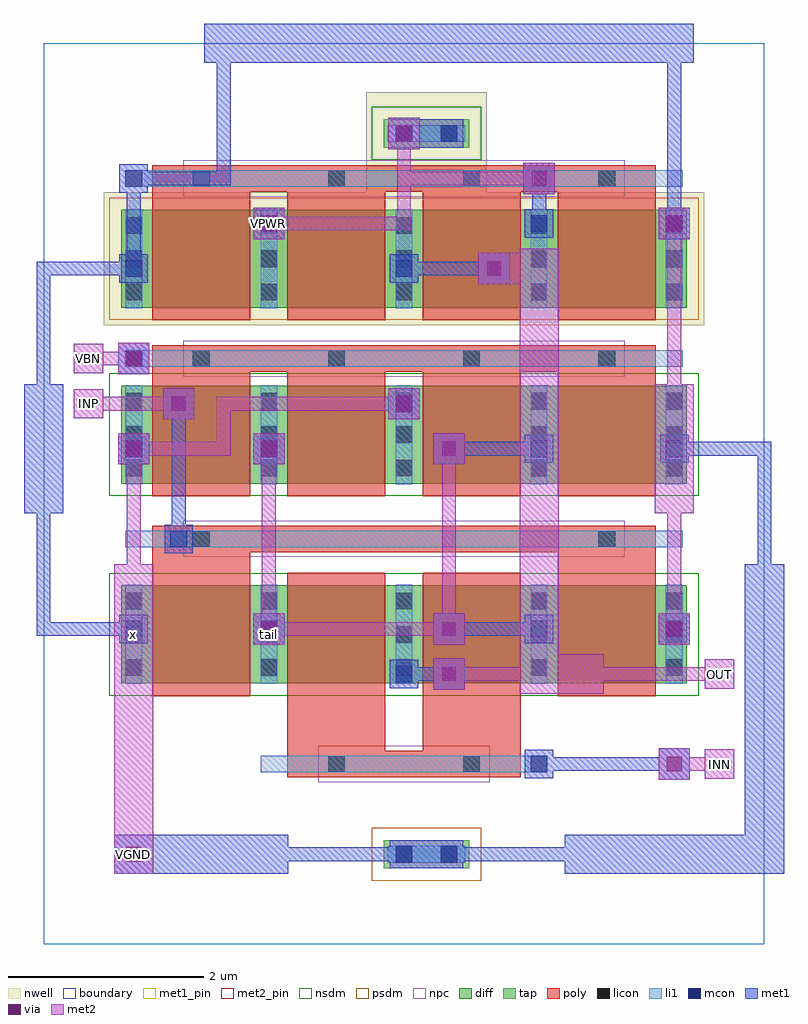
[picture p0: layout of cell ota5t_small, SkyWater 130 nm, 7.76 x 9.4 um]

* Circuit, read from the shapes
.subckt ota5t_small INN INP OUT VBN VGND VPWR tail x
XM1 tail INP x VGND sky130_fd_pr__nfet_01v8 w=1 l=1 m=2
XM2 tail VBN VGND VGND sky130_fd_pr__nfet_01v8 w=1 l=1 m=4
XM3 OUT INN tail VGND sky130_fd_pr__nfet_01v8 w=1 l=1 m=2
XM4 VPWR x x VPWR sky130_fd_pr__pfet_01v8 w=1 l=1 m=2
XM5 OUT x VPWR VPWR sky130_fd_pr__pfet_01v8 w=1 l=1 m=2
.ends

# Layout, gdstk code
import gdstk
lib = gdstk.Library(unit=1e-6, precision=1e-09)
def R(c, l, rs):  # rectangles x0, y0, x1, y1
    for r in rs: c.add(gdstk.rectangle(r[:2], r[2:], *l))
def A(c, l, x, y, w, h, nx, ny, dx, dy):  # array of equal rectangles
    R(c, l, [(x+i*dx, y+j*dy, x+i*dx+w, y+j*dy+h) for i in range(nx) for j in range(ny)])
nwell = (64, 20)
diff = (65, 20)
tap = (65, 44)
poly = (66, 20)
licon = (66, 44)
li1 = (67, 20)
mcon = (67, 44)
met1_pin = (68, 16)
met1 = (68, 20)
via = (68, 44)
met2_pin = (69, 16)
met2 = (69, 20)
nsdm = (93, 44)
psdm = (94, 20)
npc = (95, 20)
boundary = (235, 4)

ota5t_small = lib.new_cell('ota5t_small')
R(ota5t_small, nwell, [(0.615,6.32,6.745,7.68), (3.295,7.68,4.525,8.7)])
R(ota5t_small, diff, [(0.795,2.665,6.565,3.665), (0.795,4.705,6.565,5.705), (0.795,6.5,6.565,7.5)])
R(ota5t_small, tap, [(3.475,0.775,4.345,1.065), (3.475,8.135,4.345,8.425)])
A(ota5t_small, poly, 1.11, 4.005, 5.14, 0.27, 1, 3, 0, 1.84)
A(ota5t_small, poly, 1.11, 4.575, 1, 1.405, 4, 1, 1.38, 0)
A(ota5t_small, poly, 1.11, 6.37, 1, 1.45, 4, 1, 1.38, 0)
R(ota5t_small, poly, [(2.49,1.705,4.87,1.975), (2.49,1.84,3.49,3.795), (3.87,1.84,4.87,3.795), (1.11,2.535,2.11,4.14), (5.25,2.535,6.25,4.14)])
A(ota5t_small, licon, 0.835, 2.74, 0.17, 0.17, 5, 3, 1.38, 0.34)
A(ota5t_small, licon, 0.835, 4.78, 0.17, 0.17, 5, 3, 1.38, 0.34)
A(ota5t_small, licon, 1.525, 5.895, 0.17, 0.17, 4, 2, 1.38, 1.84)
A(ota5t_small, licon, 0.835, 6.575, 0.17, 0.17, 5, 3, 1.38, 0.34)
R(ota5t_small, licon, [(3.595,0.835,3.765,1.005), (4.055,0.835,4.225,1.005), (2.905,1.755,3.075,1.925), (4.285,1.755,4.455,1.925), (1.525,4.055,1.695,4.225), (5.665,4.055,5.835,4.225), (3.595,8.195,3.765,8.365), (4.055,8.195,4.225,8.365)])
A(ota5t_small, li1, 0.835, 2.66, 0.17, 1.01, 5, 2, 1.38, 2.04)
A(ota5t_small, li1, 0.835, 4.055, 5.69, 0.17, 1, 3, 0, 1.84)
A(ota5t_small, li1, 0.835, 6.495, 0.17, 1.01, 5, 1, 1.38, 0)
R(ota5t_small, li1, [(3.515,0.835,4.305,1.005), (2.215,1.755,5.145,1.925), (3.515,8.195,4.305,8.365)])
A(ota5t_small, mcon, 0.835, 4.975, 0.17, 0.17, 1, 4, 0, 0.92)
A(ota5t_small, mcon, 3.595, 5.435, 0.17, 0.17, 1, 3, 0, 1.38)
R(ota5t_small, mcon, [(3.595,0.835,3.765,1.005), (4.055,0.835,4.225,1.005), (4.975,1.755,5.145,1.925), (3.595,2.675,3.765,2.845), (0.835,3.135,1.005,3.305), (2.215,3.135,2.385,3.305), (4.975,3.135,5.145,3.305), (6.355,3.135,6.525,3.305), (1.295,4.055,1.465,4.225), (2.215,4.975,2.385,5.145), (4.975,4.975,5.145,5.145), (6.355,4.975,6.525,5.145), (2.215,7.275,2.385,7.445), (4.975,7.275,5.145,7.445), (6.355,7.275,6.525,7.445), (4.055,8.195,4.225,8.365)])
R(ota5t_small, met1_pin, [(0.72,0.72,1.12,1.12), (2.155,7.215,2.445,7.505)])
A(ota5t_small, met1, 0.775, 4.915, 0.29, 0.29, 1, 4, 0, 0.92)
R(ota5t_small, met1, [(0.72,0.72,2.5,1.12), (0.72,0.72,1.12,1.12), (5.32,0.72,7.56,1.12), (7.16,0.72,7.56,3.88), (3.535,0.775,4.285,1.065), (2.23,0.85,4.21,0.99), (4.07,0.85,4.21,0.99), (4.07,0.85,5.59,0.99), (6.28,1.68,6.6,2), (4.915,1.695,5.205,1.985), (4.99,1.77,6.51,1.91), (3.98,2.6,4.3,2.92), (3.535,2.615,3.825,2.905), (3.61,2.69,4.21,2.83), (2.14,3.06,2.46,3.38), (3.98,3.06,4.3,3.38), (6.28,3.06,6.6,3.38), (0.775,3.075,1.065,3.365), (2.155,3.075,2.445,3.365), (4.915,3.075,5.205,3.365), (6.295,3.075,6.585,3.365), (-0.07,3.15,0.99,3.29), (-0.07,3.15,0.07,4.67), (4.07,3.15,5.13,3.29), (7.29,3.61,7.43,5.13), (1.235,3.995,1.525,4.285), (1.31,4.07,1.45,5.59), (-0.2,4.4,0.2,5.72), (0.76,4.9,1.08,5.22), (2.14,4.9,2.46,5.22), (3.98,4.9,4.3,5.22), (2.155,4.915,2.445,5.205), (4.915,4.915,5.205,5.205), (6.295,4.915,6.585,5.205), (4.07,4.99,5.13,5.13), (6.37,4.99,7.43,5.13), (1.22,5.36,1.54,5.68), (3.52,5.36,3.84,5.68), (3.535,5.375,3.825,5.665), (-0.07,5.45,0.07,6.97), (0.76,5.82,1.08,6.14), (4.44,6.74,4.76,7.06), (3.535,6.755,3.825,7.045), (-0.07,6.83,0.99,6.97), (0.85,6.83,0.99,7.89), (3.61,6.83,4.67,6.97), (2.14,7.2,2.46,7.52), (6.28,7.2,6.6,7.52), (2.155,7.215,2.445,7.505), (4.915,7.215,5.205,7.505), (6.295,7.215,6.585,7.505), (4.99,7.29,5.13,7.89), (6.37,7.29,6.51,9.27), (4.9,7.66,5.22,7.98), (0.85,7.75,1.91,7.89), (1.77,7.75,1.91,9.27), (3.52,8.12,3.84,8.44), (3.535,8.135,4.285,8.425), (3.61,8.21,3.75,8.35), (1.64,9,6.64,9.4)])
R(ota5t_small, via, [(0.845,0.845,0.995,0.995), (6.365,1.765,6.515,1.915), (4.065,2.685,4.215,2.835), (2.225,3.145,2.375,3.295), (4.065,3.145,4.215,3.295), (6.365,3.145,6.515,3.295), (0.845,4.985,0.995,5.135), (2.225,4.985,2.375,5.135), (4.065,4.985,4.215,5.135), (1.305,5.445,1.455,5.595), (3.605,5.445,3.755,5.595), (0.845,5.905,0.995,6.055), (4.525,6.825,4.675,6.975), (2.225,7.285,2.375,7.435), (6.365,7.285,6.515,7.435), (4.985,7.745,5.135,7.895), (3.605,8.205,3.755,8.355)])
R(ota5t_small, met2_pin, [(6.75,1.69,7.05,1.99), (6.75,2.61,7.05,2.91), (0.31,5.37,0.61,5.67), (0.31,5.83,0.61,6.13)])
R(ota5t_small, met2, [(0.72,0.72,1.12,1.12), (0.72,0.72,1.12,3.88), (6.28,1.68,6.6,2), (6.75,1.69,7.05,1.99), (6.37,1.77,6.97,1.91), (6.83,1.77,6.97,1.91), (4.86,2.56,5.72,2.96), (4.86,2.56,5.26,7.1), (3.98,2.6,4.3,2.92), (6.75,2.61,7.05,2.91), (4.07,2.69,5.13,2.83), (5.45,2.69,6.97,2.83), (6.83,2.69,6.97,2.83), (2.14,3.06,2.46,3.38), (3.98,3.06,4.3,3.38), (6.28,3.06,6.6,3.38), (2.23,3.15,2.37,5.13), (2.23,3.15,4.21,3.29), (4.07,3.15,4.21,5.13), (6.37,3.15,6.51,4.67), (0.85,3.61,0.99,5.13), (6.24,4.4,6.64,5.72), (0.76,4.9,1.08,5.22), (2.14,4.9,2.46,5.22), (3.98,4.9,4.3,5.22), (0.85,4.99,1.91,5.13), (1.77,4.99,1.91,5.59), (1.22,5.36,1.54,5.68), (3.52,5.36,3.84,5.68), (0.31,5.37,0.61,5.67), (0.39,5.45,0.53,5.59), (0.39,5.45,1.45,5.59), (1.77,5.45,3.75,5.59), (6.37,5.45,6.51,7.43), (0.76,5.82,1.08,6.14), (0.31,5.83,0.61,6.13), (0.39,5.91,0.53,6.05), (0.39,5.91,0.99,6.05), (4.44,6.74,4.76,7.06), (4.76,6.74,4.86,7.06), (4.53,6.83,5.13,6.97), (2.14,7.2,2.46,7.52), (6.28,7.2,6.6,7.52), (2.23,7.29,3.75,7.43), (3.61,7.29,3.75,8.35), (4.9,7.66,5.22,7.98), (3.61,7.75,5.13,7.89), (3.52,8.12,3.84,8.44)])
R(ota5t_small, nsdm, [(0.67,2.54,6.69,3.79), (0.67,4.58,6.69,5.83), (3.35,8.01,4.47,8.55)])
R(ota5t_small, psdm, [(3.35,0.65,4.47,1.19), (0.67,6.375,6.69,7.625)])
A(ota5t_small, npc, 1.425, 3.955, 4.51, 0.37, 1, 3, 0, 1.84)
R(ota5t_small, npc, [(2.805,1.655,4.555,2.025)])
R(ota5t_small, boundary, [(0,0,7.36,9.2)])
ota5t_small.add(gdstk.Label('x', (0.92,3.165), layer=67, texttype=5))
ota5t_small.add(gdstk.Label('tail', (2.3,3.165), layer=67, texttype=5))
ota5t_small.add(gdstk.Label('VPWR', (2.3,7.36), layer=68, texttype=5))
ota5t_small.add(gdstk.Label('VGND', (0.92,0.92), layer=68, texttype=5))
ota5t_small.add(gdstk.Label('INP', (0.46,5.52), layer=69, texttype=5))
ota5t_small.add(gdstk.Label('INN', (6.9,1.84), layer=69, texttype=5))
ota5t_small.add(gdstk.Label('VBN', (0.46,5.98), layer=69, texttype=5))
ota5t_small.add(gdstk.Label('OUT', (6.9,2.76), layer=69, texttype=5))
ota5t_small.add(gdstk.Label('VPWR', (2.3,7.36), layer=68, texttype=16))
ota5t_small.add(gdstk.Label('VGND', (0.92,0.92), layer=68, texttype=16))
ota5t_small.add(gdstk.Label('INP', (0.46,5.52), layer=69, texttype=16))
ota5t_small.add(gdstk.Label('INN', (6.9,1.84), layer=69, texttype=16))
ota5t_small.add(gdstk.Label('VBN', (0.46,5.98), layer=69, texttype=16))
ota5t_small.add(gdstk.Label('OUT', (6.9,2.76), layer=69, texttype=16))

lib.write_gds('ota5t_small.gds')
